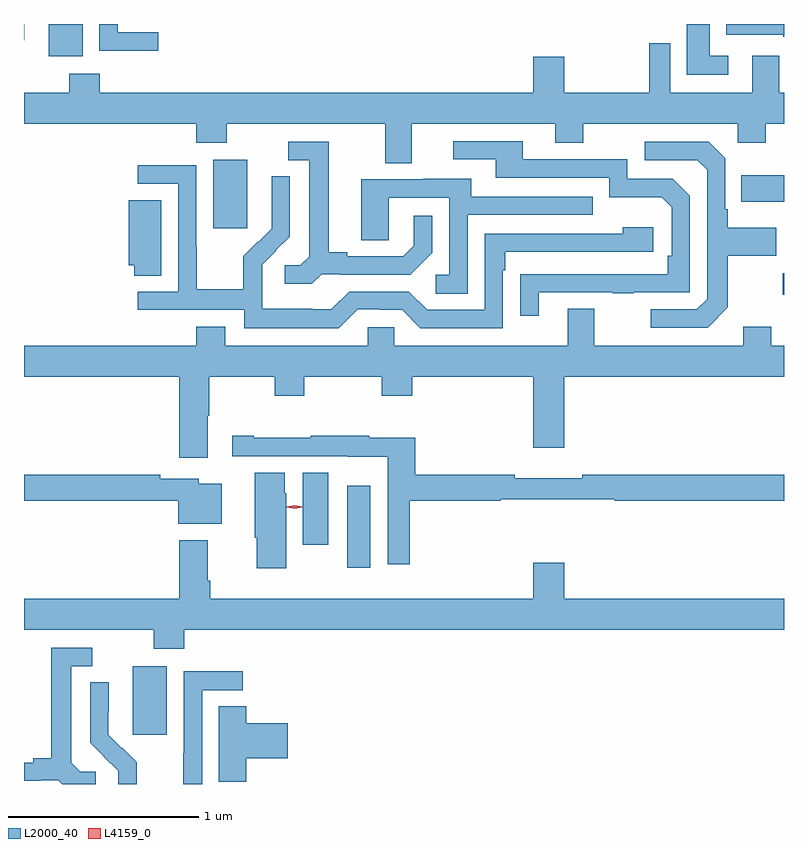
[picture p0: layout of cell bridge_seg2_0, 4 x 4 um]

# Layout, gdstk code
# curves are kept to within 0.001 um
import gdstk
lib = gdstk.Library(unit=1e-6, precision=1e-09)
def R(c, l, rs):  # rectangles x0, y0, x1, y1
    for r in rs: c.add(gdstk.rectangle(r[:2], r[2:], *l))
def P(c, l, *ps):  # polygons
    for p in ps: c.add(gdstk.Polygon(p, *l))
L2000_40 = (2000, 40)
L4159_0 = (4159, 0)

bridge_seg2_0 = lib.new_cell('bridge_seg2_0')
R(bridge_seg2_0, L2000_40, [(750.314,635.097,750.493,635.458), (751.442,635.976,751.564,636.406), (751.208,636.096,751.342,636.476), (753.735,637.413,753.741,637.526), (750.737,637.761,750.916,638.122), (753.517,637.901,753.741,638.041), (749.87,638.666,750.049,638.837), (749.741,638.752,749.742,638.837)])
P(bridge_seg2_0, L2000_40, [(753.741,638.837),(753.437,638.837),(753.437,638.781),(753.737,638.781),(753.737,638.769),(753.741,638.769)],
  [(750.448,638.793),(750.234,638.793),(750.234,638.837),(750.138,638.837),(750.138,638.695),(750.448,638.695)],
  [(753.448,638.671),(753.349,638.671),(753.349,638.837),(753.23,638.837),(753.23,638.57),(753.448,638.57)],
  [(751.783,638.312),(752.537,638.312),(752.537,638.213),(752.685,638.213),(752.685,638.312),(753.498,638.312),(753.498,638.213),(753.645,638.213),(753.645,638.312),(753.741,638.312),(753.741,638.476),(753.715,638.476),(753.715,638.671),(753.575,638.671),(753.575,638.476),(753.141,638.476),(753.141,638.737),(753.033,638.737),(753.033,638.476),(752.584,638.476),(752.584,638.665),(752.42,638.665),(752.42,638.476),(750.14,638.476),(750.14,638.575),(749.98,638.575),(749.98,638.476),(749.741,638.476),(749.741,638.312),(750.647,638.312),(750.647,638.213),(750.807,638.213),(750.807,638.312),(751.643,638.312),(751.643,638.104),(751.783,638.104)],
  [(752.449,637.425),(752.839,637.425),(752.839,637.42),(752.951,637.42),(752.951,637.425),(753.246,637.425),(753.246,637.932),(753.156,638.022),(752.916,638.022),(752.916,638.124),(752.365,638.124),(752.365,638.22),(752.001,638.22),(752.001,638.124),(752.225,638.124),(752.225,638.028),(752.82,638.028),(752.82,637.925),(753.097,637.925),(753.15,637.872),(753.15,637.618),(753.13,637.618),(753.13,637.521),(752.353,637.52),(752.353,637.302),(752.449,637.302)],
  [(753.445,637.345),(753.445,637.618),(753.701,637.618),(753.701,637.765),(753.445,637.765),(753.445,637.861),(753.432,637.861),(753.432,638.13),(753.345,638.217),(753.009,638.217),(753.009,638.121),(753.285,638.121),(753.336,638.07),(753.336,637.389),(753.282,637.335),(753.039,637.335),(753.039,637.239),(753.339,637.239)],
  [(751.308,637.521),(751.402,637.521),(751.402,637.518),(751.774,637.518),(751.89,637.634),(751.89,637.828),(751.793,637.828),(751.793,637.671),(751.736,637.614),(751.441,637.614),(751.441,637.637),(751.345,637.637),(751.345,638.217),(751.131,638.217),(751.131,638.121),(751.241,638.121),(751.241,637.613),(751.194,637.566),(751.113,637.566),(751.113,637.469),(751.256,637.469)],
  [(751.497,637.335),(751.613,637.335),(751.613,637.332),(751.731,637.332),(751.827,637.236),(752.262,637.236),(752.262,637.541),(752.275,637.541),(752.275,637.638),(753.052,637.638),(753.052,637.768),(752.891,637.768),(752.891,637.734),(752.166,637.734),(752.166,637.332),(751.863,637.332),(751.767,637.428),(751.452,637.428),(751.359,637.335),(751.259,637.335),(751.259,637.339),(750.996,637.339),(750.996,637.473),(750.994,637.473),(750.994,637.57),(751.14,637.718),(751.14,638.036),(751.044,638.036),(751.044,637.882),(751.046,637.882),(751.046,637.76),(750.975,637.689),(750.972,637.692),(750.895,637.615),(750.895,637.441),(750.651,637.441),(750.651,637.664),(750.648,637.664),(750.648,638.094),(750.339,638.094),(750.339,637.995),(750.552,637.995),(750.552,637.428),(750.339,637.428),(750.339,637.332),(750.9,637.332),(750.9,637.235),(751.397,637.235)],
  [(752.076,637.833),(752.735,637.833),(752.735,637.929),(752.095,637.929),(752.095,638.023),(751.841,638.023),(751.841,638.019),(751.517,638.019),(751.517,637.699),(751.662,637.699),(751.662,637.923),(751.98,637.923),(751.98,637.518),(751.908,637.518),(751.908,637.417),(752.076,637.417)],
  [(750.463,637.91),(750.293,637.91),(750.293,637.566),(750.32,637.566),(750.32,637.513),(750.463,637.513)],
  [(750.709,636.776),(750.717,636.776),(750.717,636.98),(751.06,636.98),(751.06,636.881),(751.215,636.881),(751.215,636.98),(751.624,636.98),(751.624,636.881),(751.784,636.881),(751.784,636.98),(752.42,636.98),(752.42,636.606),(752.584,636.606),(752.584,636.98),(753.741,636.98),(753.741,637.144),(753.675,637.144),(753.675,637.243),(753.527,637.243),(753.527,637.144),(752.743,637.144),(752.743,637.339),(752.603,637.339),(752.603,637.144),(751.689,637.144),(751.689,637.242),(751.551,637.242),(751.551,637.144),(750.799,637.144),(750.799,637.243),(750.647,637.243),(750.647,637.144),(749.741,637.144),(749.741,636.98),(750.557,636.98),(750.557,636.555),(750.709,636.555)],
  [(751.772,636.328),(752.249,636.328),(752.249,636.336),(752.849,636.336),(752.849,636.328),(753.741,636.328),(753.741,636.464),(752.68,636.464),(752.68,636.445),(752.324,636.445),(752.324,636.464),(751.799,636.464),(751.799,636.66),(751.559,636.66),(751.559,636.67),(751.249,636.67),(751.249,636.66),(750.949,636.66),(750.949,636.67),(750.837,636.67),(750.837,636.561),(751.446,636.561),(751.446,636.56),(751.656,636.56),(751.656,635.994),(751.772,635.994)],
  [(751.12,636.366),(751.114,636.366),(751.114,636.476),(750.956,636.476),(750.956,636.132),(750.965,636.132),(750.965,635.973),(751.12,635.973)],
  [(750.781,636.418),(750.66,636.418),(750.66,636.444),(750.458,636.444),(750.458,636.464),(749.741,636.464),(749.741,636.328),(750.554,636.328),(750.554,636.206),(750.781,636.206)],
  [(750.584,635.648),(753.741,635.648),(753.741,635.812),(752.584,635.812),(752.584,636.001),(752.42,636.001),(752.42,635.812),(750.722,635.812),(750.722,635.908),(750.709,635.908),(750.709,636.121),(750.557,636.121),(750.557,635.812),(749.741,635.812),(749.741,635.648),(750.424,635.648),(750.424,635.549),(750.584,635.549)],
  [(750.118,634.902),(750.036,634.902),(749.989,634.949),(749.989,635.457),(750.1,635.457),(750.1,635.553),(749.885,635.553),(749.885,634.973),(749.789,634.973),(749.789,634.95),(749.741,634.95),(749.741,634.854),(749.828,634.854),(749.828,634.857),(749.922,634.857),(749.942,634.837),(750.118,634.837)],
  [(750.678,635.331),(750.892,635.331),(750.892,635.43),(750.582,635.43),(750.582,635),(750.58,635),(750.58,634.837),(750.678,634.837)],
  [(750.335,634.951),(750.258,635.028),(750.255,635.025),(750.185,635.096),(750.186,635.372),(750.09,635.372),(750.09,635.054),(750.236,634.906),(750.236,634.837),(750.335,634.837)],
  [(750.911,634.973),(751.129,634.973),(751.129,635.156),(750.911,635.156),(750.911,635.246),(750.767,635.246),(750.767,634.849),(750.911,634.849)])
P(bridge_seg2_0, L4159_0, [(751.165,636.285),(751.124,636.294),(751.124,636.295),(751.124,636.295),(751.165,636.305),(751.206,636.295),(751.206,636.295),(751.206,636.294)])

lib.write_gds('bridge_seg2_0.gds')
